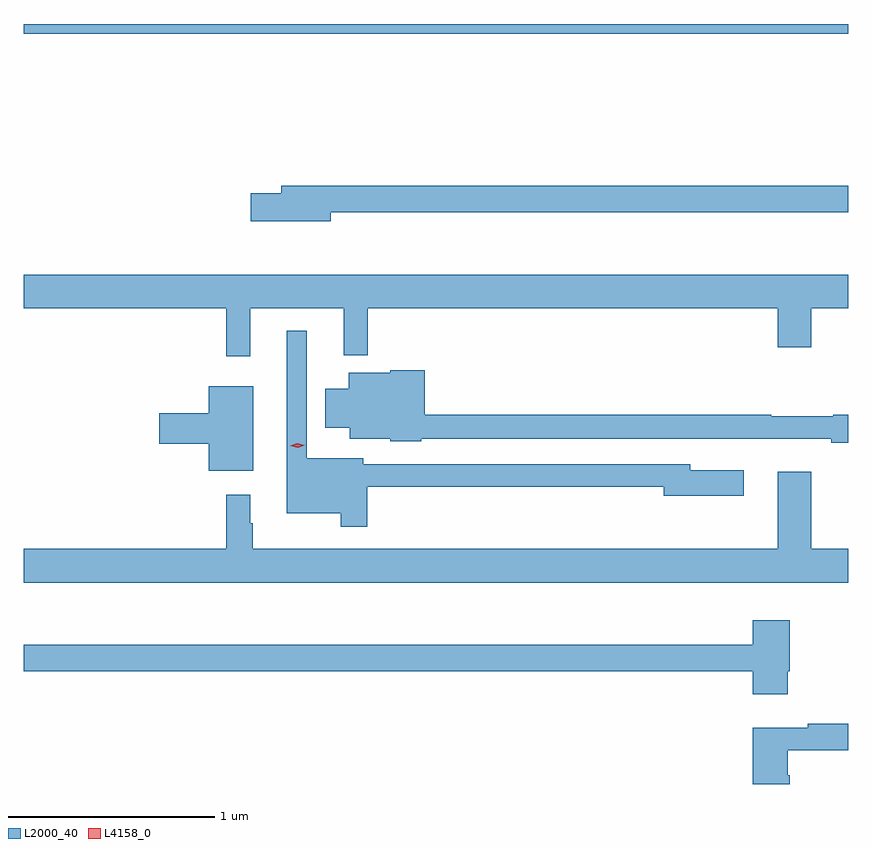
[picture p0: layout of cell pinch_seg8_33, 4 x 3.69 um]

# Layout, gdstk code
import gdstk
lib = gdstk.Library(unit=1e-6, precision=1e-09)
def R(c, l, rs):  # rectangles x0, y0, x1, y1
    for r in rs: c.add(gdstk.rectangle(r[:2], r[2:], *l))
def P(c, l, *ps):  # polygons
    for p in ps: c.add(gdstk.Polygon(p, *l))
L2000_40 = (2000, 40)
L4158_0 = (4158, 0)

pinch_seg8_33 = lib.new_cell('pinch_seg8_33')
R(pinch_seg8_33, L2000_40, [(976.534,1164.452,980.534,1164.5)])
P(pinch_seg8_33, L2000_40, [(978.022,1163.586),(980.534,1163.586),(980.534,1163.714),(977.783,1163.714),(977.783,1163.678),(977.634,1163.678),(977.634,1163.543),(978.022,1163.543)],
  [(976.534,1163.12),(977.515,1163.12),(977.515,1162.887),(977.633,1162.887),(977.633,1163.12),(978.086,1163.12),(978.086,1162.892),(978.203,1162.892),(978.203,1163.12),(980.192,1163.12),(980.192,1162.932),(980.356,1162.932),(980.356,1163.12),(980.534,1163.12),(980.534,1163.284),(976.534,1163.284)],
  [(978.2,1162.254),(979.64,1162.254),(979.64,1162.211),(980.029,1162.211),(980.029,1162.333),(979.768,1162.333),(979.768,1162.362),(978.181,1162.362),(978.181,1162.393),(977.907,1162.393),(977.907,1163.011),(977.81,1163.011),(977.81,1162.124),(978.072,1162.124),(978.072,1162.059),(978.2,1162.059)],
  [(980.534,1162.604),(980.462,1162.604),(980.462,1162.597),(980.162,1162.597),(980.162,1162.604),(978.479,1162.604),(978.479,1162.819),(978.312,1162.819),(978.312,1162.807),(978.11,1162.807),(978.11,1162.729),(977.996,1162.729),(977.996,1162.541),(978.116,1162.541),(978.116,1162.487),(978.312,1162.487),(978.312,1162.475),(978.462,1162.475),(978.462,1162.488),(979.864,1162.488),(979.864,1162.487),(980.452,1162.487),(980.452,1162.468),(980.534,1162.468)],
  [(977.647,1162.741),(977.432,1162.741),(977.432,1162.61),(977.19,1162.61),(977.19,1162.463),(977.432,1162.463),(977.432,1162.331),(977.647,1162.331)],
  [(980.534,1161.952),(980.356,1161.952),(980.356,1162.327),(980.192,1162.327),(980.192,1161.952),(977.644,1161.952),(977.644,1162.076),(977.632,1162.076),(977.632,1162.216),(977.515,1162.216),(977.515,1161.952),(976.534,1161.952),(976.534,1161.788),(980.534,1161.788)],
  [(980.242,1161.358),(980.25,1161.358),(980.25,1161.607),(980.072,1161.607),(980.072,1161.487),(976.534,1161.487),(976.534,1161.358),(980.072,1161.358),(980.072,1161.246),(980.242,1161.246)],
  [(980.25,1160.853),(980.242,1160.853),(980.242,1160.976),(980.534,1160.976),(980.534,1161.104),(980.338,1161.104),(980.338,1161.085),(980.072,1161.085),(980.072,1160.811),(980.25,1160.811)])
P(pinch_seg8_33, L4158_0, [(977.862,1162.444),(977.826,1162.453),(977.826,1162.453),(977.826,1162.454),(977.861,1162.464),(977.896,1162.456),(977.897,1162.455),(977.896,1162.455)])

lib.write_gds('pinch_seg8_33.gds')
